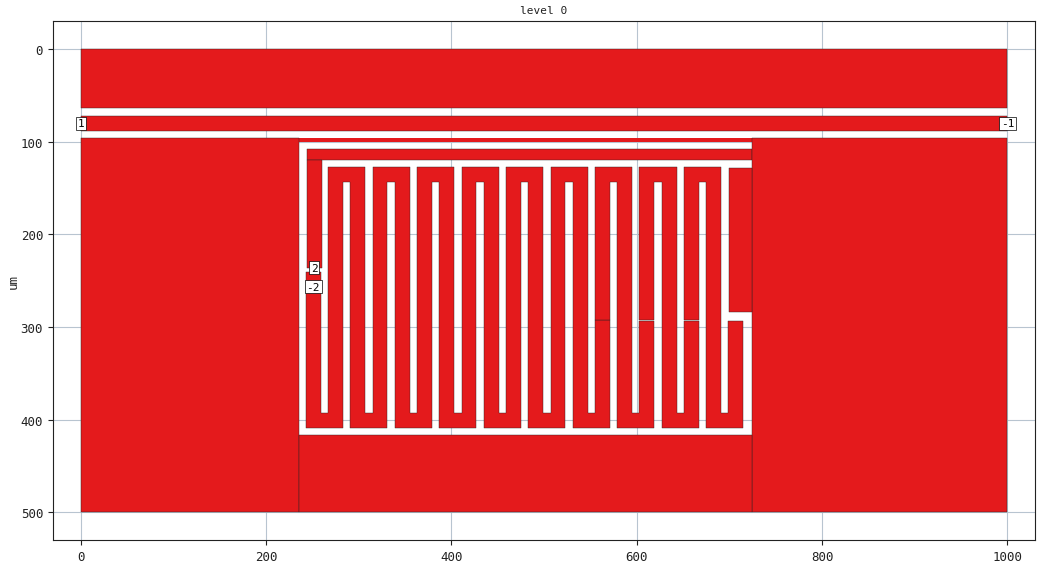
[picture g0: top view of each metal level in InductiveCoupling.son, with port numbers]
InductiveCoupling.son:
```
FTYP SONPROJ 15 ! Sonnet Project File
VER 16.52
HEADER
LIC calt2.2.43068 b6ae2bd1257f DESKTOP-SL82IK9 Michael
DAT 07/08/2016 12:43:00
BUILT_BY_CREATED xgeom 16.52 04/11/2016 14:48:12
BUILT_BY_SAVED xgeom 16.52
MDATE 07/08/2016 12:34:59
HDATE 07/08/2016 12:34:59
END HEADER
DIM
FREQ GHZ
IND NH
LNG UM
ANG DEG
CON /OH
CAP PF
RES OH
END DIM
FREQ
ABS 1.0 20.0 
END FREQ
CONTROL
ABS
OPTIONS  -dj 
SPEED 0
CACHE_ABS 1
TARG_ABS 300
Q_ACC Y
DET_ABS_RES Y
END CONTROL
GEO
TMET "Lossless" 0 SUP 0 0 0 0
BMET "Lossless" 0 SUP 0 0 0 0
BOX 2 1000 500 500 250 20 0
      500 1 1 0 0 0 0 "Unnamed"
      500 11.9 1 5e-006 0 0 0 "Silicon (intrinsic)"
      500 1 1 0 0 0 0 "Unnamed"
LORGN 40 -272 U 
POR1 STD
POLY 34 1
3
1 50 0 0 0 0 80.00000267 
POR1 STD
POLY 34 1
1
-1 50 0 0 0 999.9999496 80.00000267 
POR1 CUP A
POLY 36 1
2
2 50 0 0 0 252 235.9999868 
POR1 CUP A
POLY 62 1
28
-2 50 0 0 0 251 240.0000069 
CUPGRP "A"
ID 69
GNDREF B
TWTYPE FEED
END
NUM 13
0 5 -1 N 30 1 1 100 100 0 0 0 Y
0 0
1000 0
1000 63.99999582
0 63.99999582
0 0
END
0 5 -1 N 33 1 1 100 100 0 0 0 Y
236 96
724 96
724 100
236 100
236 96
END
0 5 -1 N 34 1 1 100 100 0 0 0 Y
0 72
999.9999496 72
999.9999496 88.00000534
0 88.00000534
0 72
END
0 5 -1 N 35 1 1 100 100 0 0 0 Y
244 108
724 108
724 120
244 120
244 108
END
0 5 -1 N 36 1 1 100 100 0 0 0 Y
244 120
260 120
260 235.9999868
244 235.9999868
244 120
END
0 5 -1 N 41 1 1 100 100 0 0 0 Y
236.0000351 96.00000115
-2.450661457e-006 96.00000115
-2.450661457e-006 500.0000181
236.0000351 500.0000181
236.0000351 96.00000115
END
0 5 -1 N 43 1 1 100 100 0 0 0 Y
999.9999632 96.00000115
724 96.00000115
724 500
999.9999632 500
999.9999632 96.00000115
END
0 5 -1 N 61 1 1 100 100 0 0 0 Y
236 415.999981
724.0000151 415.999981
724.0000151 499.9999958
236 499.9999958
236 415.999981
END
0 57 -1 N 62 1 1 100 100 0 0 0 Y
571 292
555 292
555 393
547 393
547 127
507 127
507 393
499 393
499 127
459 127
459 393
451 393
451 127
411 127
411 393
403 393
403 127
363 127
363 393
355 393
355 127
315 127
315 393
307 393
307 127
267 127
267 393
259 393
259 240.0000069
243 240.0000069
243 409
283 409
283 143
291 143
291 409
331 409
331 143
339 143
339 409
379 409
379 143
387 143
387 409
427 409
427 143
435 143
435 409
475 409
475 143
483 143
483 409
523 409
523 143
531 143
531 409
571 409
571 292
END
0 14 -1 N 63 1 1 100 100 0 0 0 Y
619 293
603 293
603 393
595 393
595 127
555 127
555 292
571 292
571 143
579 143
579 292
579 409
619 409
619 293
END
0 14 -1 N 64 1 1 100 100 0 0 0 Y
667 293
651 293
651 393
643 393
643 127
603 127
603 292
619 292
619 143
627 143
627 292
627 409
667 409
667 293
END
0 14 -1 N 65 1 1 100 100 0 0 0 Y
715 293
699 293
699 393
691 393
691 127
651 127
651 292
667 292
667 143
675 143
675 292
675 409
715 409
715 293
END
0 5 -1 N 66 1 1 100 100 0 0 0 Y
700 128
724 128
724 284
700 284
700 128
END
END GEO
OPT
MAX 100
VARS
END
END OPT
VARSWP
END VARSWP
QSG
IMPORT NO
EXTRA_METAL NO
UNITS NO
ALIGN NO
REF NO
VIEW_RES YES
METALS NO
USED YES
END QSG
```
